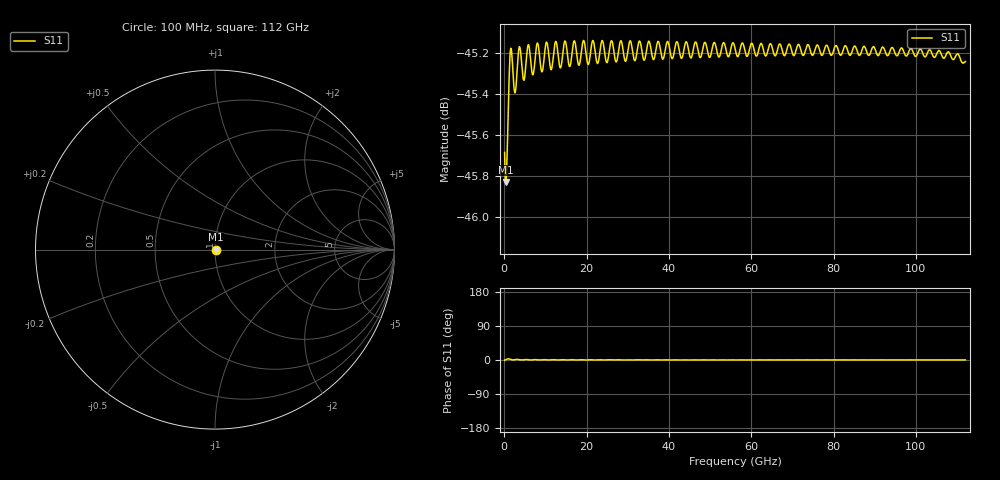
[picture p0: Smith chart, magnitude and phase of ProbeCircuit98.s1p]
! File created by SignalIntegrity v1.3.3: Signal and Power Integrity Tools
! https://github.com/TeledyneLeCroy/SignalIntegrity
# MHz S MA R 50.0
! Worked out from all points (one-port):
!   1120 points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, 100 MHz to 112 GHz, reference 50 ohm
!   lowest |S11| = -45.8 dB at 400 MHz (marker M1), VSWR 1.01, Z = 50.5 + j0.00844 ohm
!   |S11| at or under -10 dB: start of sweep to end of sweep
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100  0.005197 -0.8
400  0.005112 0.9
1400  0.005484 2.2
1700  0.005507 1.1
2600  0.005373 0.9
3700  0.005514 0.9
4800  0.005411 0.8
5900  0.00552 0.6
6900  0.005428 0.5
8100  0.005525 0.5
9100  0.005437 0.4
10300  0.005528 0.5
11400  0.005443 0.5
12500  0.00553 0.5
14100  0.005478 0.8
24900  0.005465 0.3
26100  0.005532 0.3
27200  0.005467 0.3
28100  0.005526 0.5
29500  0.005469 0.3
30600  0.005532 0.3
31700  0.005471 0.3
42100  0.005527 0.1
56100  0.005506 0.0
70100  0.00549 0.1
84100  0.005488 0.3
98100  0.005493 0.3
112000  0.005468 0.1
